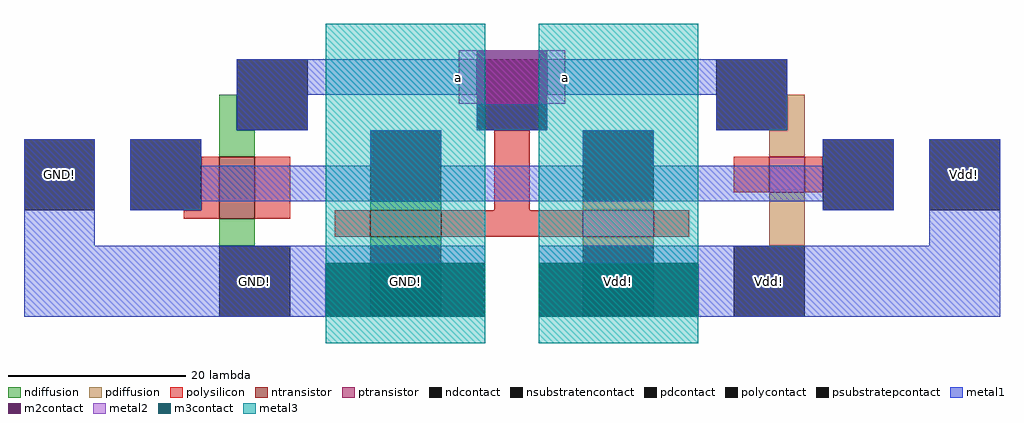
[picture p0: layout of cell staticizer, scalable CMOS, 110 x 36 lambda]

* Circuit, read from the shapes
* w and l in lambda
.subckt staticizer GND! Vdd! a
M1 a n1 GND! GND! nfet w=4 l=7
M2 n1 a GND! GND! nfet w=8 l=3
M3 n1 a Vdd! Vdd! pfet w=8 l=3
M4 a n1 Vdd! Vdd! pfet w=4 l=4
.ends

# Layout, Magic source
magic
tech scmos
<< ndiffusion >>
rect -33 389 -31 393
rect -33 386 -29 389
rect -16 380 -8 381
rect -33 376 -29 379
rect -16 376 -8 377
<< pdiffusion >>
rect 31 389 33 393
rect 29 386 33 389
rect 8 380 16 381
rect 8 376 16 377
rect 29 376 33 382
<< ntransistor >>
rect -33 379 -29 386
rect -16 377 -8 380
<< ptransistor >>
rect 29 382 33 386
rect 8 377 16 380
<< polysilicon >>
rect -35 380 -33 386
rect -37 379 -33 380
rect -29 379 -25 386
rect -2 380 2 389
rect 25 382 29 386
rect 33 382 35 386
rect -20 377 -16 380
rect -8 377 8 380
rect 16 377 20 380
<< ndcontact >>
rect -31 389 -23 397
rect -16 381 -8 389
rect -33 368 -25 376
rect -16 368 -8 376
<< pdcontact >>
rect 23 389 31 397
rect 8 381 16 389
rect 8 368 16 376
rect 25 368 33 376
<< psubstratepcontact >>
rect -55 380 -47 388
<< nsubstratencontact >>
rect 47 380 55 388
<< polycontact >>
rect -4 389 4 397
rect -43 380 -35 388
rect 35 380 43 388
<< metal1 >>
rect -31 393 -4 397
rect -31 389 -23 393
rect 4 393 31 397
rect -4 389 4 392
rect 23 389 31 393
rect -55 376 -47 388
rect -43 385 -35 388
rect -16 385 -8 389
rect 8 385 16 389
rect 35 385 43 388
rect -43 381 43 385
rect -43 380 -35 381
rect 35 380 43 381
rect 47 376 55 388
rect -55 374 -3 376
rect -55 368 -21 374
rect 3 374 55 376
rect 21 368 55 374
<< m2contact >>
rect -4 392 4 398
rect -21 368 -3 374
rect 3 368 21 374
<< metal2 >>
rect -6 392 6 398
<< m3contact >>
rect -21 368 -3 374
rect 3 368 21 374
<< metal3 >>
rect -21 365 -3 401
rect 3 365 21 401
<< labels >>
rlabel ndcontact -12 372 -12 372 1 GND!
rlabel pdcontact 12 372 12 372 1 Vdd!
rlabel metal1 29 372 29 372 1 Vdd!
rlabel metal1 -29 372 -29 372 1 GND!
rlabel metal2 -6 392 -6 398 3 a
rlabel metal2 6 392 6 398 7 a
rlabel metal1 -51 384 -51 384 3 GND!
rlabel metal1 51 384 51 384 7 Vdd!
<< end >>
